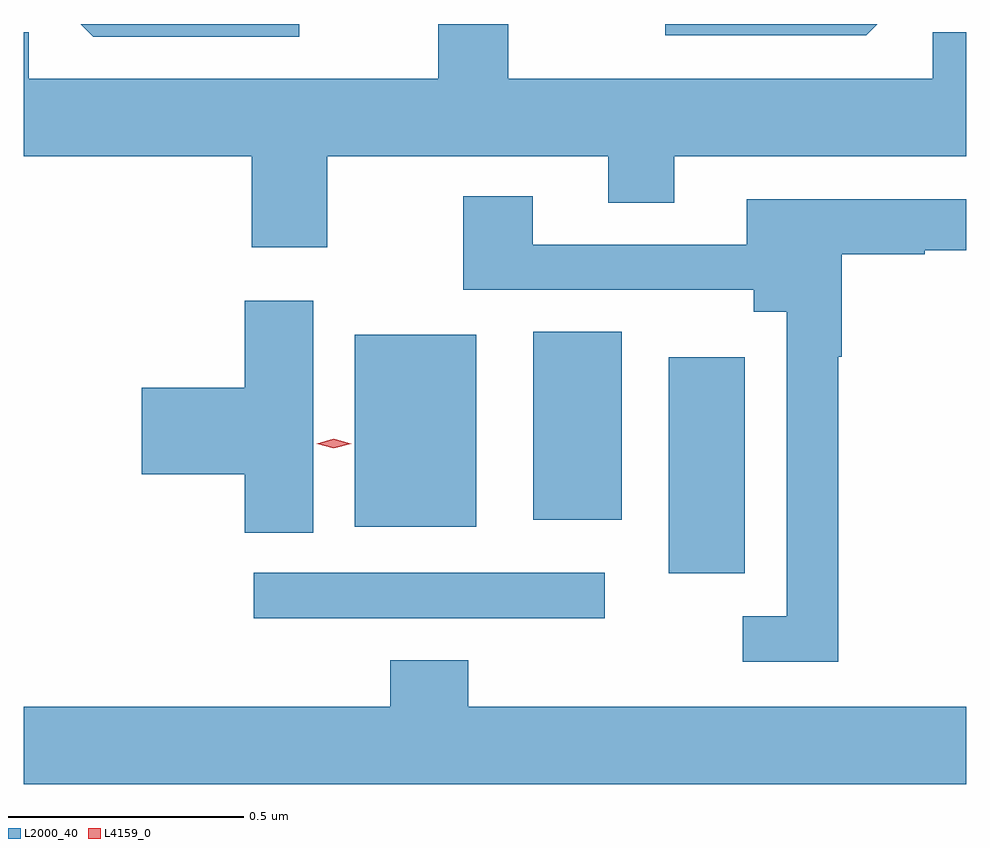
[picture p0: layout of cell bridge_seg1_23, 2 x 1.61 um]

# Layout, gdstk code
import gdstk
lib = gdstk.Library(unit=1e-6, precision=1e-09)
def R(c, l, rs):  # rectangles x0, y0, x1, y1
    for r in rs: c.add(gdstk.rectangle(r[:2], r[2:], *l))
def P(c, l, *ps):  # polygons
    for p in ps: c.add(gdstk.Polygon(p, *l))
L2000_40 = (2000, 40)
L4159_0 = (4159, 0)

bridge_seg1_23 = lib.new_cell('bridge_seg1_23')
R(bridge_seg1_23, L2000_40, [(821.601,556.08,822.346,556.176), (822.482,556.175,822.643,556.633), (821.816,556.274,822.073,556.681), (822.194,556.289,822.382,556.687)])
P(bridge_seg1_23, L2000_40, [(821.757,557.06),(822.353,557.06),(822.353,556.961),(822.493,556.961),(822.493,557.06),(823.113,557.06),(823.113,557.322),(823.041,557.322),(823.041,557.224),(822.141,557.224),(822.141,557.34),(821.993,557.34),(821.993,557.224),(821.124,557.224),(821.124,557.322),(821.113,557.322),(821.113,557.06),(821.597,557.06),(821.597,556.866),(821.757,556.866)],
  [(822.924,557.34),(822.474,557.34),(822.474,557.316),(822.9,557.316)],
  [(821.698,557.34),(821.234,557.34),(821.261,557.313),(821.698,557.313)],
  [(822.841,556.634),(822.848,556.634),(822.848,556.852),(823.025,556.852),(823.025,556.86),(823.113,556.86),(823.113,556.968),(822.647,556.968),(822.647,556.872),(822.193,556.872),(822.193,556.975),(822.046,556.975),(822.046,556.776),(822.662,556.776),(822.662,556.73),(822.732,556.73),(822.732,556.084),(822.639,556.084),(822.639,555.987),(822.841,555.987)],
  [(821.728,556.753),(821.582,556.753),(821.582,556.568),(821.364,556.568),(821.364,556.385),(821.582,556.385),(821.582,556.261),(821.728,556.261)],
  [(823.113,555.892),(822.056,555.892),(822.056,555.991),(821.891,555.991),(821.891,555.892),(821.113,555.892),(821.113,555.728),(823.113,555.728)])
P(bridge_seg1_23, L4159_0, [(821.771,556.44),(821.735,556.45),(821.734,556.45),(821.735,556.45),(821.771,556.46),(821.808,556.45),(821.808,556.45),(821.808,556.45)])

lib.write_gds('bridge_seg1_23.gds')
